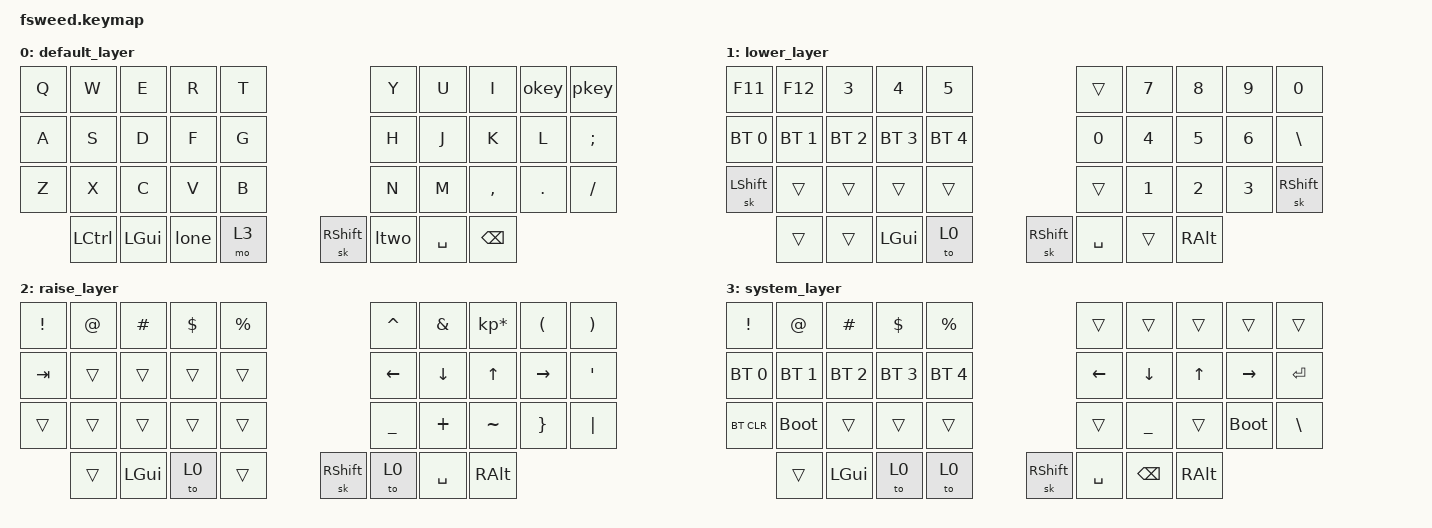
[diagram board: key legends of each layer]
/*
 * Copyright (c) 2020 The ZMK Contributors
 *
 * SPDX-License-Identifier: MIT
 */

#include <behaviors.dtsi>
#include <dt-bindings/zmk/keys.h>
#include <dt-bindings/zmk/bt.h>



/{
    behaviors
    {
        stickymt: stickymt{
            compatible = "zmk,behavior-hold-tap";
            label = "STICKYMT";
            #binding-cells = <2>;
            tapping-term-ms = <160>;
            quick-tap-ms = <0>;
            flavor = "hold-preferred";
            bindings = <&mo>, <&sl>;
        };
        pkey: pkey{
            compatible = "zmk,behavior-tap-dance";
            label = "PKEY";
            #binding-cells = <0>;
            tapping-term-ms = <165>;
            bindings = <&mt RBKT P>, <&mt RBRC MINUS>;
        };
         okey: okey{
            compatible = "zmk,behavior-tap-dance";
            label = "OKEY";
            #binding-cells = <0>;
            tapping-term-ms = <165>;
            bindings = <&mt LBKT O>, <&mt LBRC  PLUS> ;
        };
        lone:lone{
            compatible = "zmk,behavior-tap-dance";
            label = "LONE";
            #binding-cells = <0>;
            tapping-term-ms = <160>;
            bindings = <&stickymt 1 1>, <&to 1>;
        };
        ltwo:ltwo{
            compatible = "zmk,behavior-tap-dance";
            label = "LTWO";
            #binding-cells = <0>;
            tapping-term-ms = <160>;
            bindings = <&stickymt 2 2>, <&to 2>;
        };
        change_app: change_app {
            label = "CHANGE_APP";
            compatible = "zmk,behavior-macro";
            #binding-cells = <0>;
            bindings = <&kp LGUI &kp TAB>;
        };
        pkey_macro: pkey_macro{
            label = "PKEY_MACRO";
            compatible = "zmk,behavior-macro";
            #binding-cells = <0>;
            bindings = <&pkey>;
        };
         shift_macro:shift_macro{
            label = "SHIFT_MACRO";
            compatible = "zmk,behavior-macro";
            #binding-cells = <0>;
            bindings = <&sk LSHIFT>;
        };
    };
};
/ {

combos {
        compatible = "zmk,combos";
        combo_caps{
            timeout-ms = <50>;
            key-positions = <20 29>;
            bindings = <&caps_word>;
        };
        combo_eqls{
            timeout-ms = <50>;
            key-positions = <8 9>;
            bindings = <&kp EQUAL>;
            layers=<0>;
        };
        combo_ret{
            timeout-ms = <50>;
            key-positions = <18 19>;
            bindings = <&kp RET>;
            layers=<0>;
        };
        combo_app{
            timeout-ms = <50>;
            key-positions = <31 10>;
            bindings = <&change_app>;
            layers=<0>;
        };
        combo_esc{
            timeout-ms = <50>;
            key-positions = <0 1>;
            bindings = <&kp ESC>;
            layers=<0>;
        };
        combo_tab{
            timeout-ms = <50>;
            key-positions = <10 11>;
            bindings = <&kp TAB>;
            layers=<0>;
        };
        combo_tilde{
            timeout-ms = <50>;
            key-positions = <18 19>;
            bindings = <&kp GRAVE>;
            layers=<2>;
        };
        combo_lfshift{
            timeout-ms = <50>;
            key-positions = <28 29>;
            bindings = <&shift_macro>;
            layers=<0>;
        };
        combo_rshift{
            timeout-ms = <50>;
            key-positions = <20 21>;
            bindings = <&shift_macro>;
            layers=<0>;
        };
        combo_plus{
            timeout-ms = <50>;
            key-positions = <5 6>;
            bindings = <&kp PLUS>;
            layers=<0>;
        };
        combo_p{
            timeout-ms = <50>;
            key-positions = <6 7>;
            bindings = <&pkey_macro>;
            layers=<0>;
        };
        combo_panic{
            timeout-ms = <50>;
            key-positions = <32 35>;
            bindings = <&tog 0>;
            layers = <0 1 2 3>;
        };
    };
        keymap {

                compatible = "zmk,keymap";

                default_layer {
// -----------------------------------------------------------------------------------------
// |  TAB |  Q  |  W  |  E  |  R  |  T  |   |  Y  |  U   |  I  |  O  |  P  | BKSP |
// | CTRL |  A  |  S  |  D  |  F  |  G  |   |  H  |  J   |  K  |  L  |  ;  |  '   |
// | SHFT |  Z  |  X  |  C  |  V  |  B  |   |  N  |  M   |  ,  |  .  |  /  |
//                    | GUI | LWR | SPC |   | ENT | RSE  | ALT |
                        bindings = <
   &kp Q &kp W &kp E &kp R &kp T                &kp Y &kp U  &kp I     &okey   &pkey  
   &kp A &kp S &kp D &kp F &kp G                &kp H &kp J  &kp K     &kp L   &kp SEMI
   &kp Z &kp X &kp C &kp V &kp B                &kp N &kp M  &kp COMMA &kp DOT &kp FSLH
       &kp LCTRL &kp LGUI &lone &mo 3 &sk RSHIFT &ltwo  &kp SPACE &kp BSPC
                        >;
                };
                lower_layer {
// -----------------------------------------------------------------------------------------
// |  TAB |  1  |  2  |  3  |  4  |  5  |   |  6  |  7  |  8  |  9  |  0  | BKSP |
// | BTCLR| BT1 | BT2 | BT3 | BT4 | BT5 |   | LFT | DWN |  UP | RGT |     |      |
// | SHFT |     |     |     |     |     |   |     |     |     |     |     |      |
//                    | GUI |     | SPC |   | ENT |     | ALT |
                        bindings = <
   &kp F11      &kp F12      &kp N3       &kp N4       &kp N5         &trans   &kp N7   &kp N8 &kp N9    &kp N0
   &bt BT_SEL 0 &bt BT_SEL 1 &bt BT_SEL 2 &bt BT_SEL 3 &bt BT_SEL 4   &kp N0   &kp N4   &kp N5 &kp N6    &kp BACKSLASH
   &sk LSHIFT    &trans      &trans       &trans       &trans         &trans   &kp N1   &kp N2 &kp N3    &sk RSHIFT
                        &trans  &trans    &kp LGUI     &to 0 &sk RSHIFT &kp SPACE &trans   &kp RALT
                        >;
                };

                raise_layer {
// -----------------------------------------------------------------------------------------
// |  !  |  @  |  #  |  $  |  %  |   |  ^  |  &  |  *  |  (  |  )  |
// |     |     |     |     |     |   |  -  |  =  |  [  |  ]  |  \  |
// |     |     |     |     |     |   |  _  |  +  |  {  |  }  | "|" |
//                    | GUI |     | SPC |   | ENT |     | ALT |
                        bindings = <
    &kp EXCL &kp AT &kp HASH &kp DLLR &kp PRCNT   &kp CARET &kp AMPS  &kp KP_MULTIPLY &kp LPAR &kp RPAR
    &kp TAB &trans &trans   &trans   &trans      &kp LEFT &kp DOWN &kp UP        &kp RIGHT &kp SINGLE_QUOTE
    &trans   &trans &trans   &trans   &trans      &kp UNDER &kp PLUS  &kp  TILDE &kp RBRC &kp PIPE
               &trans  &kp LGUI &to 0  &trans   &sk RSHIFT &to 0 &kp SPACE    &kp RALT
                        >;
                };

                system_layer {
// -----------------------------------------------------------------------------------------
// |  !  |  @  |  #  |  $  |  %  |   |  ^  |  &  |  *  |  (  |  )  |
// |     |     |     |     |     |   |  -  |  =  |  [  |  ]  |  \  |
// |     |     |     |     |     |   |  _  |  +  |  {  |  }  | "|" |
//                    | GUI |     | SPC |   | ENT |     | ALT |
                        bindings = <
    &kp EXCL &kp AT &kp HASH &kp DLLR &kp PRCNT   &trans    &trans    &trans &trans    &trans
   &bt BT_SEL 0 &bt BT_SEL 1 &bt BT_SEL 2 &bt BT_SEL 3 &bt BT_SEL 4 &kp LEFT  &kp DOWN  &kp UP &kp RIGHT &kp RET
    &bt BT_CLR &bootloader &trans &trans   &trans   &trans      &kp UNDER &trans     &bootloader &kp  BACKSLASH
               &trans   &kp LGUI &to 0  &to 0 &sk RSHIFT &kp SPACE &kp BSPC &kp RALT
                        >;
                };
    };
};
